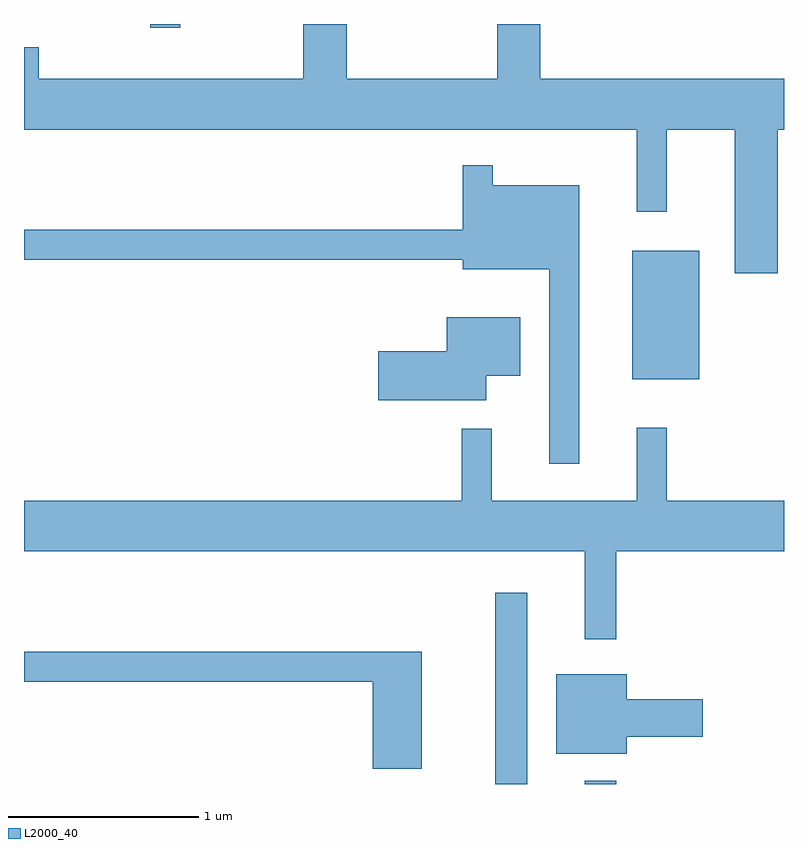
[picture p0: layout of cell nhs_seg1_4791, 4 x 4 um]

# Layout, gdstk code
import gdstk
lib = gdstk.Library(unit=1e-6, precision=1e-09)
def R(c, l, rs):  # rectangles x0, y0, x1, y1
    for r in rs: c.add(gdstk.rectangle(r[:2], r[2:], *l))
def P(c, l, *ps):  # polygons
    for p in ps: c.add(gdstk.Polygon(p, *l))
L2000_40 = (2000, 40)

nhs_seg1_4791 = lib.new_cell('nhs_seg1_4791')
R(nhs_seg1_4791, L2000_40, [(332.091,871.712,332.259,872.718), (332.561,871.712,332.729,871.728), (332.811,873.841,333.164,874.519), (330.276,875.693,330.434,875.712)])
P(nhs_seg1_4791, L2000_40, [(333.579,875.156),(333.611,875.156),(333.611,875.424),(332.329,875.424),(332.329,875.712),(332.101,875.712),(332.101,875.424),(331.309,875.424),(331.309,875.712),(331.081,875.712),(331.081,875.424),(329.689,875.424),(329.689,875.589),(329.611,875.589),(329.611,875.156),(332.836,875.156),(332.836,874.723),(332.994,874.723),(332.994,875.156),(333.351,875.156),(333.351,874.401),(333.579,874.401)],
  [(332.534,874.864),(332.079,874.864),(332.079,874.968),(331.921,874.968),(331.921,874.629),(329.611,874.629),(329.611,874.471),(331.921,874.471),(331.921,874.421),(332.376,874.421),(332.376,873.398),(332.534,873.398)],
  [(332.044,873.861),(332.224,873.861),(332.224,874.169),(331.836,874.169),(331.836,873.989),(331.476,873.989),(331.476,873.731),(332.044,873.731)],
  [(332.729,872.936),(333.611,872.936),(333.611,873.204),(332.994,873.204),(332.994,873.588),(332.836,873.588),(332.836,873.204),(332.074,873.204),(332.074,873.583),(331.916,873.583),(331.916,873.204),(329.611,873.204),(329.611,872.936),(332.561,872.936),(332.561,872.473),(332.729,872.473)],
  [(331.704,872.409),(329.611,872.409),(329.611,872.251),(331.446,872.251),(331.446,871.791),(331.704,871.791)],
  [(332.784,871.961),(333.184,871.961),(333.184,872.159),(332.784,872.159),(332.784,872.289),(332.411,872.289),(332.411,871.871),(332.784,871.871)])

lib.write_gds('nhs_seg1_4791.gds')
